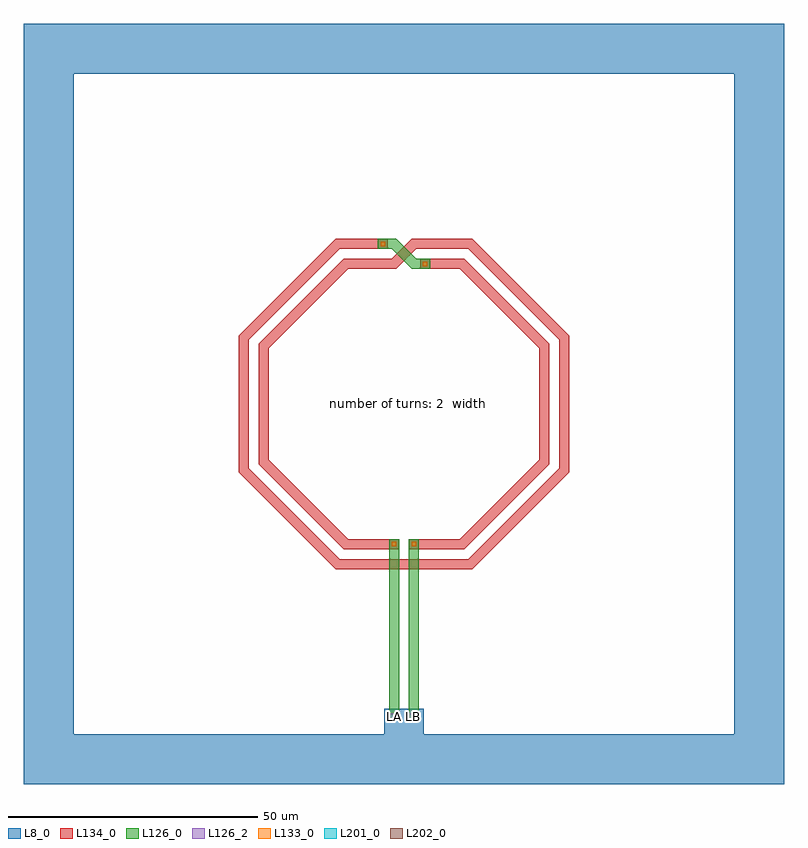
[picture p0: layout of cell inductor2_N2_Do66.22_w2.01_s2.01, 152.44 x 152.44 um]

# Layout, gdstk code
import gdstk
lib = gdstk.Library(unit=1e-6, precision=1e-09)
def R(c, l, rs):  # rectangles x0, y0, x1, y1
    for r in rs: c.add(gdstk.rectangle(r[:2], r[2:], *l))
def P(c, l, *ps):  # polygons
    for p in ps: c.add(gdstk.Polygon(p, *l))
L8_0 = (8, 0)
L126_0 = (126, 0)
L126_2 = (126, 2)
L133_0 = (133, 0)
L134_0 = (134, 0)
L201_0 = (201, 0)
L202_0 = (202, 0)

inductor2_n2_do66_22_w2_ = lib.new_cell('inductor2_N2_Do66.22_w2.01_s2.01')
R(inductor2_n2_do66_22_w2_, L8_0, [(-76.22,-76.22,-66.22,76.22), (-66.22,-76.22,66.22,-66.22), (66.22,-76.22,76.22,76.22), (-4,-66.22,4,-61.11), (-66.22,66.22,66.22,76.22)])
R(inductor2_n2_do66_22_w2_, L126_0, [(-3,-63.11,-1,-27.11), (1,-63.11,3,-27.11)])
P(inductor2_n2_do66_22_w2_, L126_0, [(-5.24,33.11),(-5.24,31.11),(-2.414,31.11),(1.586,27.11),(5.24,27.11),(5.24,29.11),(2.414,29.11),(-1.586,33.11)])
R(inductor2_n2_do66_22_w2_, L126_2, [(-3,-63.11,-1,-62.11), (1,-63.11,3,-62.11)])
R(inductor2_n2_do66_22_w2_, L133_0, [(-2.45,-28.56,-1.55,-27.66), (1.55,-28.56,2.45,-27.66), (3.8,27.66,4.7,28.56), (-4.7,31.66,-3.8,32.56)])
R(inductor2_n2_do66_22_w2_, L134_0, [(-5.245,-33.11,5.245,-31.11)])
P(inductor2_n2_do66_22_w2_, L134_0, [(-3.24,-33.11),(-3.24,-31.11),(-12.886,-31.11),(-31.11,-12.886),(-31.11,2),(-33.11,2),(-33.11,-13.714),(-13.714,-33.11)],
  [(-3.24,31.11),(-3.24,33.11),(-13.714,33.11),(-33.11,13.714),(-33.11,-2),(-31.11,-2),(-31.11,12.886),(-12.886,31.11)],
  [(3.24,-31.11),(3.24,-33.11),(13.714,-33.11),(33.11,-13.714),(33.11,2),(31.11,2),(31.11,-12.886),(12.886,-31.11)],
  [(3.24,33.11),(3.24,31.11),(12.886,31.11),(31.11,12.886),(31.11,-2),(33.11,-2),(33.11,13.714),(13.714,33.11)],
  [(-1,-29.11),(-1,-27.11),(-11.226,-27.11),(-27.11,-11.226),(-27.11,2),(-29.11,2),(-29.11,-12.054),(-12.054,-29.11)],
  [(-3.24,27.11),(-3.24,29.11),(-12.054,29.11),(-29.11,12.054),(-29.11,-2),(-27.11,-2),(-27.11,11.226),(-11.226,27.11)],
  [(1,-27.11),(1,-29.11),(12.054,-29.11),(29.11,-12.054),(29.11,2),(27.11,2),(27.11,-11.226),(11.226,-27.11)],
  [(3.24,29.11),(3.24,27.11),(11.226,27.11),(27.11,11.226),(27.11,-2),(29.11,-2),(29.11,12.054),(12.054,29.11)],
  [(-5.24,29.11),(-5.24,27.11),(-1.586,27.11),(2.414,31.11),(5.24,31.11),(5.24,33.11),(1.586,33.11),(-2.414,29.11)])
R(inductor2_n2_do66_22_w2_, L201_0, [(-3,-63.11,-1,-63.01)])
R(inductor2_n2_do66_22_w2_, L202_0, [(1,-63.11,3,-63.01)])
inductor2_n2_do66_22_w2_.add(gdstk.Label('LA', (-2,-62.61), layer=27, texttype=25))
inductor2_n2_do66_22_w2_.add(gdstk.Label('LB', (2,-62.61), layer=27, texttype=25))
inductor2_n2_do66_22_w2_.add(gdstk.Label('  number of turns: 2\n  width: 2.00\n  spacing: 2.00\n  outer diameter: 66.22\n  inner diameter: 54.22\n', (0,0), layer=63, texttype=0))

lib.write_gds('inductor2_N2_Do66.22_w2.01_s2.01.gds')
